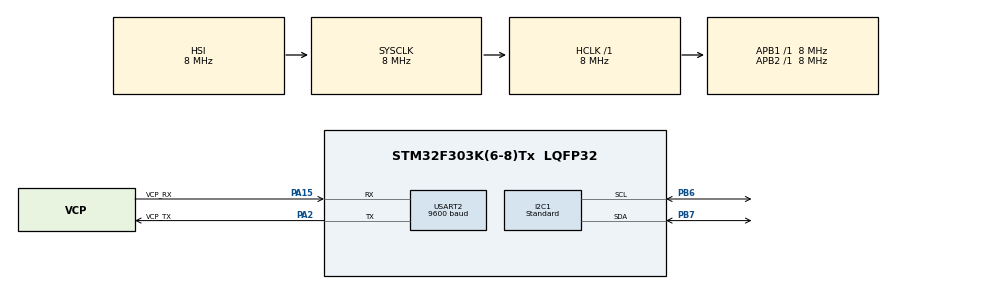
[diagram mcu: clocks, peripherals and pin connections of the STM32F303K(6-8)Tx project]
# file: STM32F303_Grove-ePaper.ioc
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I2C1.I2C_Speed_Mode=I2C_Standard
I2C1.Timing=0x2000090E
Mcu.Family=STM32F3
Mcu.Name=STM32F303K(6-8)Tx
Mcu.Package=LQFP32
NVIC.PriorityGroup=NVIC_PRIORITYGROUP_4
PA13.GPIO_Label=SWDIO
PA13.Mode=Serial_Wire
PA13.Signal=SYS_JTMS-SWDIO
PA14.GPIO_Label=SWCLK
PA14.Mode=Serial_Wire
PA14.Signal=SYS_JTCK-SWCLK
PA15.GPIO_Label=VCP_RX
PA15.Mode=Asynchronous
PA15.Signal=USART2_RX
PA2.GPIO_Label=VCP_TX
PA2.Mode=Asynchronous
PA2.Signal=USART2_TX
PB6.GPIO_FM6=SYSCFG_CFGR1_I2C_PB6_FMP
PB6.Mode=I2C
PB6.Signal=I2C1_SCL
PB7.GPIO_FM7=SYSCFG_CFGR1_I2C_PB7_FMP
PB7.Mode=I2C
PB7.Signal=I2C1_SDA
PF0\ /\ OSC_IN.GPIO_Label=MCO
PF0\ /\ OSC_IN.Mode=HSE-External-Clock-Source
PF0\ /\ OSC_IN.Signal=RCC_OSC_IN
ProjectManager.HeapSize=0x200
ProjectManager.StackSize=0x400
ProjectManager.TargetToolchain=SW4STM32
RCC.AHBFreq_Value=8000000
RCC.APB1Freq_Value=8000000
RCC.APB2Freq_Value=8000000
RCC.CortexFreq_Value=8000000
RCC.HSE_VALUE=8000000
RCC.HSI_VALUE=8000000
RCC.SYSCLKFreq_VALUE=8000000
USART2.BaudRate=9600
USART2.VirtualMode-Asynchronous=VM_ASYNC
USART2.WordLength=WORDLENGTH_8B
board=NUCLEO-F303K8

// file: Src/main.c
/**
  ******************************************************************************
  * @file           : main.c
  * @brief          : Main program body
  ******************************************************************************
  ** This notice applies to any and all portions of this file
  * that are not between comment pairs USER CODE BEGIN and
  * USER CODE END. Other portions of this file, whether
  * inserted by the user or by software development tools
  * are owned by their respective copyright owners.
  *
  * COPYRIGHT(c) 2018 STMicroelectronics
  *
  * Redistribution and use in source and binary forms, with or without modification,
  * are permitted provided that the following conditions are met:
  *   1. Redistributions of source code must retain the above copyright notice,
  *      this list of conditions and the following disclaimer.
  *   2. Redistributions in binary form must reproduce the above copyright notice,
  *      this list of conditions and the following disclaimer in the documentation
  *      and/or other materials provided with the distribution.
  *   3. Neither the name of STMicroelectronics nor the names of its contributors
  *      may be used to endorse or promote products derived from this software
  *      without specific prior written permission.
  *
  * THIS SOFTWARE IS PROVIDED BY THE COPYRIGHT HOLDERS AND CONTRIBUTORS "AS IS"
  * AND ANY EXPRESS OR IMPLIED WARRANTIES, INCLUDING, BUT NOT LIMITED TO, THE
  * IMPLIED WARRANTIES OF MERCHANTABILITY AND FITNESS FOR A PARTICULAR PURPOSE ARE
  * DISCLAIMED. IN NO EVENT SHALL THE COPYRIGHT HOLDER OR CONTRIBUTORS BE LIABLE
  * FOR ANY DIRECT, INDIRECT, INCIDENTAL, SPECIAL, EXEMPLARY, OR CONSEQUENTIAL
  * DAMAGES (INCLUDING, BUT NOT LIMITED TO, PROCUREMENT OF SUBSTITUTE GOODS OR
  * SERVICES; LOSS OF USE, DATA, OR PROFITS; OR BUSINESS INTERRUPTION) HOWEVER
  * CAUSED AND ON ANY THEORY OF LIABILITY, WHETHER IN CONTRACT, STRICT LIABILITY,
  * OR TORT (INCLUDING NEGLIGENCE OR OTHERWISE) ARISING IN ANY WAY OUT OF THE USE
  * OF THIS SOFTWARE, EVEN IF ADVISED OF THE POSSIBILITY OF SUCH DAMAGE.
  *
  ******************************************************************************
  */
#include "main.h"
#include "stm32f3xx_hal.h"
#include "i2c.h"
#include "usart.h"
#include "gpio.h"

/* USER CODE BEGIN Includes */
#define USE_EPD1IN54_V2
//#define USE_EPD1IN54_V1
#ifdef USE_EPD1IN54_V1
	#include "epd1in54.h"
#endif
#ifdef USE_EPD1IN54_V2
	#include "epd1in54_v2.h"
#endif

#include "epdif.h"
#include "epdpaint.h"
#include "imagedata.h"
#include <stdlib.h>
#include "i2c-spi_bridge.h"
/* USER CODE END Includes */

/* USER CODE BEGIN PV */
/* Private variables ---------------------------------------------------------*/

/* USER CODE END PV */

void SystemClock_Config(void);

/* USER CODE BEGIN PFP */
/* Private function prototypes -----------------------------------------------*/
int _write (int fd, char *ptr, int len)
{
  HAL_UART_Transmit(&huart2, (uint8_t*)ptr, len, 1000);
  return len;
}
/* USER CODE END PFP */

/* USER CODE BEGIN 0 */
#define COLORED      0
#define UNCOLORED    1
/* USER CODE END 0 */

int main(void)
{

  /* MCU Configuration----------------------------------------------------------*/

  /* Reset of all peripherals, Initializes the Flash interface and the Systick. */
  HAL_Init();

  /* USER CODE BEGIN Init */
  unsigned char* frame_buffer = (unsigned char*)malloc(EPD_WIDTH * EPD_HEIGHT / 8);
  char time_string[] = {'0', '0', ':', '0', '0', '\0'};
  unsigned long time_start_ms;
  unsigned long time_now_s;

  /* USER CODE END Init */

  /* Configure the system clock */
  SystemClock_Config();

  /* Initialize all configured peripherals */
  MX_GPIO_Init();
  MX_USART2_UART_Init();
  MX_I2C1_Init();
  /* USER CODE BEGIN 2 */
  printf("Init OK! \n");

  if(HAL_I2C_Master_Transmit(&hi2c1,SC18IS602_ADDRESS,(uint8_t*)0x00,0,50)!=HAL_OK){
	  printf("DEV NOT FOUND!\n");
  }

  SC18IS602_InitDevice();

#ifdef USE_EPD1IN54_V1
  EPD epd;
  if (EPD_Init(&epd, lut_full_update) != 0) {
    printf("e-Paper init failed\n");
    return -1;
  }
#endif
#ifdef USE_EPD1IN54_V2
  EPD_1IN54_V2_Init();

#endif

  Paint paint;
  //printf("W:%d, H:%d \n",epd.width,epd.height);
  Paint_Init(&paint, frame_buffer, EPD_WIDTH, EPD_HEIGHT);
  Paint_Clear(&paint, UNCOLORED);
  Paint_SetRotate(&paint, ROTATE_270);

  /* For simplicity, the arguments are explicit numerical coordinates */
  /* Write strings to the buffer */
  Paint_DrawFilledRectangle(&paint, 0, 10, 200, 50, COLORED);

  Paint_DrawStringAt(&paint, 52, 24, "Crescent ", &Font16, UNCOLORED);
  Paint_DrawStringAt(&paint, 40, 60, "e-Paper I2C ", &Font16, COLORED);
  Paint_DrawStringAt(&paint, 35, 80, "Grove Module", &Font16, COLORED);

  Paint_DrawStringAt(&paint, 60, 120, "Hello!!", &Font16, COLORED);

  /* Display the frame_buffer */
#ifdef USE_EPD1IN54_V1
  EPD_SetFrameMemory(&epd, frame_buffer, 0, 0, Paint_GetWidth(&paint), Paint_GetHeight(&paint));
  EPD_DisplayFrame(&epd);
  EPD_SetFrameMemory(&epd, frame_buffer, 0, 0, Paint_GetWidth(&paint), Paint_GetHeight(&paint));
  EPD_DisplayFrame(&epd);
  EPD_DelayMs(&epd, 2000);
#endif

#ifdef USE_EPD1IN54_V2
  EPD_1IN54_V2_Display(frame_buffer);
  HAL_Delay(1000);
  EPD_1IN54_V2_Init();
  EPD_1IN54_V2_DisplayPartBaseImage(frame_buffer);
#endif

  while(1);

  /* EPD_or partial update */
#ifdef USE_EPD1IN54_V1
  if (EPD_Init(&epd, lut_partial_update) != 0) {
    printf("e-Paper init failed\n");
    return -1;
  }
#endif

  time_start_ms = HAL_GetTick();
  /* USER CODE END 2 */

  /* Infinite loop */
  while (1)
  {

  /* USER CODE BEGIN 3 */
	    time_now_s = (HAL_GetTick() - time_start_ms) / 1000;
	    time_string[0] = time_now_s / 60 / 10 + '0';
	    time_string[1] = time_now_s / 60 % 10 + '0';
	    time_string[3] = time_now_s % 60 / 10 + '0';
	    time_string[4] = time_now_s % 60 % 10 + '0';

#ifdef USE_EPD1IN54_V1
	    Paint_SetWidth(&paint, 32);
	    Paint_SetHeight(&paint, 96);
	    Paint_SetRotate(&paint, ROTATE_270);

	    Paint_Clear(&paint, UNCOLORED);
	    Paint_DrawStringAt(&paint, 10, 84, time_string, &Font24, COLORED);

	    EPD_SetFrameMemory(&epd, frame_buffer, 50, 100, Paint_GetWidth(&paint), Paint_GetHeight(&paint));
	    EPD_DisplayFrame(&epd);
#endif
#ifdef USE_EPD1IN54_V2

	    Paint_DrawFilledRectangle(&paint, 0, 140, 200, 180, UNCOLORED);
	    Paint_DrawStringAt(&paint, 50, 160, time_string, &Font24, COLORED);

	    EPD_1IN54_V2_DisplayPart(frame_buffer);

#endif

  }
  /* USER CODE END 3 */

}

void SystemClock_Config(void)
{

  RCC_OscInitTypeDef RCC_OscInitStruct;
  RCC_ClkInitTypeDef RCC_ClkInitStruct;
  RCC_PeriphCLKInitTypeDef PeriphClkInit;

    /**Initializes the CPU, AHB and APB busses clocks
    */
  RCC_OscInitStruct.OscillatorType = RCC_OSCILLATORTYPE_HSI;
  RCC_OscInitStruct.HSIState = RCC_HSI_ON;
  RCC_OscInitStruct.HSICalibrationValue = 16;
  RCC_OscInitStruct.PLL.PLLState = RCC_PLL_NONE;
  if (HAL_RCC_OscConfig(&RCC_OscInitStruct) != HAL_OK)
  {
    _Error_Handler(__FILE__, __LINE__);
  }

    /**Initializes the CPU, AHB and APB busses clocks
    */
  RCC_ClkInitStruct.ClockType = RCC_CLOCKTYPE_HCLK|RCC_CLOCKTYPE_SYSCLK
                              |RCC_CLOCKTYPE_PCLK1|RCC_CLOCKTYPE_PCLK2;
  RCC_ClkInitStruct.SYSCLKSource = RCC_SYSCLKSOURCE_HSI;
  RCC_ClkInitStruct.AHBCLKDivider = RCC_SYSCLK_DIV1;
  RCC_ClkInitStruct.APB1CLKDivider = RCC_HCLK_DIV1;
  RCC_ClkInitStruct.APB2CLKDivider = RCC_HCLK_DIV1;

  if (HAL_RCC_ClockConfig(&RCC_ClkInitStruct, FLASH_LATENCY_0) != HAL_OK)
  {
    _Error_Handler(__FILE__, __LINE__);
  }

  PeriphClkInit.PeriphClockSelection = RCC_PERIPHCLK_I2C1;
  PeriphClkInit.I2c1ClockSelection = RCC_I2C1CLKSOURCE_HSI;
  if (HAL_RCCEx_PeriphCLKConfig(&PeriphClkInit) != HAL_OK)
  {
    _Error_Handler(__FILE__, __LINE__);
  }

    /**Configure the Systick interrupt time
    */
  HAL_SYSTICK_Config(HAL_RCC_GetHCLKFreq()/1000);

    /**Configure the Systick
    */
  HAL_SYSTICK_CLKSourceConfig(SYSTICK_CLKSOURCE_HCLK);

  /* SysTick_IRQn interrupt configuration */
  HAL_NVIC_SetPriority(SysTick_IRQn, 0, 0);
}

void _Error_Handler(char *file, int line)
{
  while(1)
  {
  }
}

/************************ (C) COPYRIGHT STMicroelectronics *****END OF FILE****/
